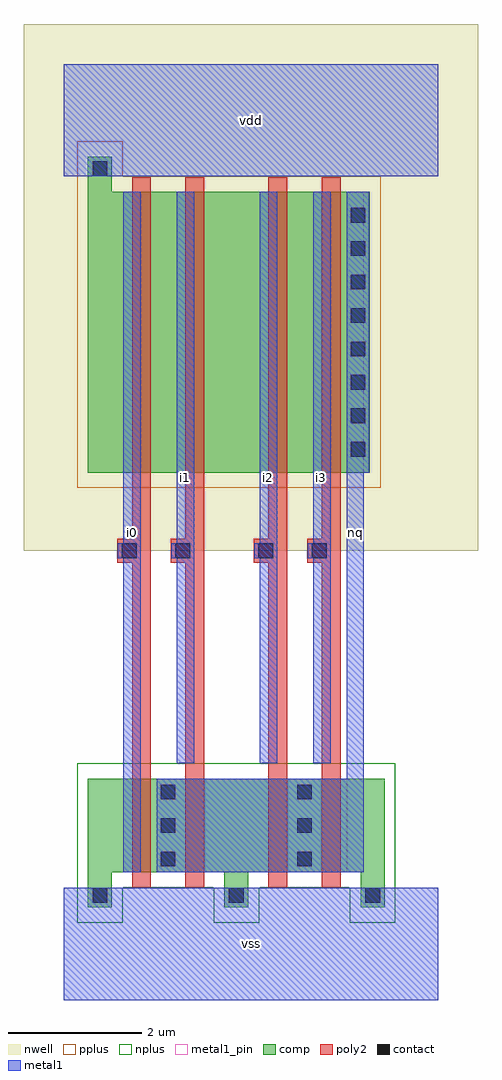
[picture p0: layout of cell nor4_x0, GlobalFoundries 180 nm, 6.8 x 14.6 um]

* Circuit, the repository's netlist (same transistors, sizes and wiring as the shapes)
* nor4_x0
.subckt nor4_x0 vdd vss nq i0 i1 i2 i3
Mn0 vss i0 nq vss nfet_03v3 l=0.28um w=1.4um
Mp0 vdd i0 int0 vdd pfet_03v3 l=0.28um w=4.2um
Mn1 nq i1 vss vss nfet_03v3 l=0.28um w=1.4um
Mp1 int0 i1 int1 vdd pfet_03v3 l=0.28um w=4.2um
Mn2 vss i2 nq vss nfet_03v3 l=0.28um w=1.4um
Mp2 int1 i2 int2 vdd pfet_03v3 l=0.28um w=4.2um
Mn3 nq i3 vss vss nfet_03v3 l=0.28um w=1.4um
Mp3 int2 i3 nq vdd pfet_03v3 l=0.28um w=4.2um
.ends nor4_x0

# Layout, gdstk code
import gdstk
lib = gdstk.Library(unit=1e-6, precision=1e-09)
def R(c, l, rs):  # rectangles x0, y0, x1, y1
    for r in rs: c.add(gdstk.rectangle(r[:2], r[2:], *l))
def A(c, l, x, y, w, h, nx, ny, dx, dy):  # array of equal rectangles
    R(c, l, [(x+i*dx, y+j*dy, x+i*dx+w, y+j*dy+h) for i in range(nx) for j in range(ny)])
def P(c, l, *ps):  # polygons
    for p in ps: c.add(gdstk.Polygon(p, *l))
nwell = (21, 0)
comp = (22, 0)
poly2 = (30, 0)
pplus = (31, 0)
nplus = (32, 0)
contact = (33, 0)
metal1 = (34, 0)
metal1_pin = (34, 10)

nor4_x0 = lib.new_cell('nor4_x0')
R(nor4_x0, nwell, [(-0.6,6.72,6.2,14.6)])
P(nor4_x0, comp, [(0.36,1.385),(0.36,3.31),(4.8,3.31),(4.8,1.385),(4.44,1.385),(4.44,1.91),(2.76,1.91),(2.76,1.385),(2.4,1.385),(2.4,1.91),(0.72,1.91),(0.72,1.385)],
  [(0.36,7.89),(0.36,12.615),(0.72,12.615),(0.72,12.09),(4.58,12.09),(4.58,7.89)])
P(nor4_x0, poly2, [(1.02,1.69),(1.02,6.54),(0.8,6.54),(0.8,6.9),(1.02,6.9),(1.02,12.31),(1.3,12.31),(1.3,1.69)],
  [(1.82,1.69),(1.82,6.54),(1.6,6.54),(1.6,6.9),(1.82,6.9),(1.82,12.31),(2.1,12.31),(2.1,1.69)],
  [(3.06,1.69),(3.06,6.54),(2.84,6.54),(2.84,6.9),(3.06,6.9),(3.06,12.31),(3.34,12.31),(3.34,1.69)],
  [(3.86,1.69),(3.86,6.54),(3.64,6.54),(3.64,6.9),(3.86,6.9),(3.86,12.31),(4.14,12.31),(4.14,1.69)])
P(nor4_x0, pplus, [(0.2,7.66),(0.2,12.845),(0.88,12.845),(0.88,12.32),(4.74,12.32),(4.74,7.66)])
P(nor4_x0, nplus, [(0.2,1.155),(0.2,3.54),(4.96,3.54),(4.96,1.155),(4.28,1.155),(4.28,1.68),(2.92,1.68),(2.92,1.155),(2.24,1.155),(2.24,1.68),(0.88,1.68),(0.88,1.155)])
A(nor4_x0, contact, 0.43, 1.455, 0.22, 0.22, 3, 1, 2.04, 0)
A(nor4_x0, contact, 1.45, 2, 0.22, 0.22, 1, 3, 0, 0.5)
A(nor4_x0, contact, 3.49, 2, 0.22, 0.22, 1, 3, 0, 0.5)
A(nor4_x0, contact, 4.29, 8.13, 0.22, 0.22, 1, 8, 0, 0.5)
R(nor4_x0, contact, [(0.87,6.61,1.09,6.83), (1.67,6.61,1.89,6.83), (2.91,6.61,3.13,6.83), (3.71,6.61,3.93,6.83), (0.43,12.325,0.65,12.545)])
R(nor4_x0, metal1, [(0,0,5.6,1.68), (0,12.32,5.6,14)])
P(nor4_x0, metal1, [(1.39,1.91),(1.39,3.31),(4.23,3.31),(4.23,12.09),(4.57,12.09),(4.57,7.89),(4.49,7.89),(4.49,1.91)],
  [(0.89,1.91),(0.89,6.605),(0.81,6.605),(0.81,6.835),(0.89,6.835),(0.89,12.09),(1.15,12.09),(1.15,1.91)],
  [(1.69,3.54),(1.69,6.605),(1.61,6.605),(1.61,6.835),(1.69,6.835),(1.69,12.09),(1.95,12.09),(1.95,3.54)],
  [(2.93,3.54),(2.93,6.605),(2.85,6.605),(2.85,6.835),(2.93,6.835),(2.93,12.09),(3.19,12.09),(3.19,3.54)],
  [(3.73,3.54),(3.73,6.605),(3.65,6.605),(3.65,6.835),(3.73,6.835),(3.73,12.09),(3.99,12.09),(3.99,3.54)])
R(nor4_x0, metal1_pin, [(0,0,5.6,1.68), (0.89,1.91,1.15,12.09), (4.23,1.91,4.49,12.09), (1.69,3.54,1.95,12.09), (2.93,3.54,3.19,12.09), (3.73,3.54,3.99,12.09), (0,12.32,5.6,14)])
nor4_x0.add(gdstk.Label('vss', (2.8,0.84), layer=34, texttype=10))
nor4_x0.add(gdstk.Label('vdd', (2.8,13.16), layer=34, texttype=10))
nor4_x0.add(gdstk.Label('nq', (4.36,7), layer=34, texttype=10))
nor4_x0.add(gdstk.Label('i0', (1.02,7), layer=34, texttype=10))
nor4_x0.add(gdstk.Label('i1', (1.82,7.815), layer=34, texttype=10))
nor4_x0.add(gdstk.Label('i2', (3.06,7.815), layer=34, texttype=10))
nor4_x0.add(gdstk.Label('i3', (3.86,7.815), layer=34, texttype=10))

lib.write_gds('nor4_x0.gds')
